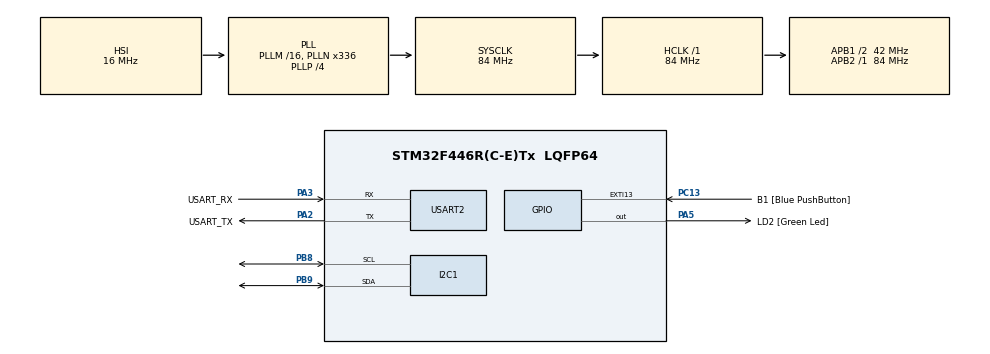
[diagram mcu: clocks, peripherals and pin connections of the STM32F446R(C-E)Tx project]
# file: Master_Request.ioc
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Dma.I2C1_TX.0.Direction=DMA_MEMORY_TO_PERIPH
Dma.I2C1_TX.0.FIFOMode=DMA_FIFOMODE_DISABLE
Dma.I2C1_TX.0.Instance=DMA1_Stream6
Dma.I2C1_TX.0.MemDataAlignment=DMA_MDATAALIGN_BYTE
Dma.I2C1_TX.0.MemInc=DMA_MINC_ENABLE
Dma.I2C1_TX.0.Mode=DMA_NORMAL
Dma.I2C1_TX.0.PeriphDataAlignment=DMA_PDATAALIGN_BYTE
Dma.I2C1_TX.0.PeriphInc=DMA_PINC_DISABLE
Dma.I2C1_TX.0.Priority=DMA_PRIORITY_LOW
Dma.Request0=I2C1_TX
Mcu.Family=STM32F4
Mcu.Name=STM32F446R(C-E)Tx
Mcu.Package=LQFP64
NVIC.DMA1_Stream6_IRQn=true\:0\:0\:false\:false\:true\:false\:true\:true
NVIC.I2C1_ER_IRQn=true\:0\:0\:false\:false\:true\:true\:true\:true
NVIC.I2C1_EV_IRQn=true\:0\:0\:false\:false\:true\:true\:true\:true
NVIC.PriorityGroup=NVIC_PRIORITYGROUP_0
PA13.GPIO_Label=TMS
PA13.Mode=Serial_Wire
PA13.Signal=SYS_JTMS-SWDIO
PA14.GPIO_Label=TCK
PA14.Mode=Serial_Wire
PA14.Signal=SYS_JTCK-SWCLK
PA2.GPIO_Label=USART_TX
PA2.Mode=Asynchronous
PA2.Signal=USART2_TX
PA3.GPIO_Label=USART_RX
PA3.Mode=Asynchronous
PA3.Signal=USART2_RX
PA5.GPIO_Label=LD2 [Green Led]
PA5.Signal=GPIO_Output
PB3.GPIO_Label=SWO
PB3.Signal=SYS_JTDO-SWO
PB8.Mode=I2C
PB8.Signal=I2C1_SCL
PB9.Mode=I2C
PB9.Signal=I2C1_SDA
PC13.GPIO_Label=B1 [Blue PushButton]
PC13.GPIO_ModeDefaultEXTI=GPIO_MODE_IT_FALLING
PC13.Signal=GPXTI13
PC14-OSC32_IN.Mode=LSE-External-Oscillator
PC14-OSC32_IN.Signal=RCC_OSC32_IN
PC15-OSC32_OUT.Mode=LSE-External-Oscillator
PC15-OSC32_OUT.Signal=RCC_OSC32_OUT
PH0-OSC_IN.Mode=HSE-External-Oscillator
PH0-OSC_IN.Signal=RCC_OSC_IN
PH1-OSC_OUT.Mode=HSE-External-Oscillator
PH1-OSC_OUT.Signal=RCC_OSC_OUT
ProjectManager.HeapSize=0x200
ProjectManager.StackSize=0x400
ProjectManager.TargetToolchain=STM32CubeIDE
RCC.48MHZClocksFreq_Value=84000000
RCC.AHBFreq_Value=84000000
RCC.APB1CLKDivider=RCC_HCLK_DIV2
RCC.APB1Freq_Value=42000000
RCC.APB1TimFreq_Value=84000000
RCC.APB2Freq_Value=84000000
RCC.APB2TimFreq_Value=84000000
RCC.CortexFreq_Value=84000000
RCC.FLatency-AdvancedSettings=FLASH_LATENCY_2
RCC.HCLKFreq_Value=84000000
RCC.HSE_VALUE=8000000
RCC.HSI_VALUE=16000000
RCC.PLLN=336
RCC.PLLP=RCC_PLLP_DIV4
RCC.SYSCLKFreq_VALUE=84000000
RCC.SYSCLKSource=RCC_SYSCLKSOURCE_PLLCLK
RCC.USBFreq_Value=168000000
RCC.VCOOutputFreq_Value=336000000
USART2.VirtualMode=VM_ASYNC
board=NUCLEO-F446RE

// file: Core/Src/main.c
/* USER CODE BEGIN Header */
/**
  ******************************************************************************
  * @file           : main.c
  * @brief          : Main program body
  ******************************************************************************
  * @attention
  *
  * Copyright (c) 2025 STMicroelectronics.
  * All rights reserved.
  *
  * This software is licensed under terms that can be found in the LICENSE file
  * in the root directory of this software component.
  * If no LICENSE file comes with this software, it is provided AS-IS.
  *
  ******************************************************************************
  */
/* USER CODE END Header */
#include "main.h"

/* USER CODE BEGIN Includes */
#include <string.h>
#include <stdio.h>
/* USER CODE END Includes */

I2C_HandleTypeDef hi2c1;
DMA_HandleTypeDef hdma_i2c1_tx;

UART_HandleTypeDef huart2;

/* USER CODE BEGIN PV */
uint8_t txData = 'A';
uint8_t rxData = '?';
uint32_t lastSendTime = 0;
GPIO_PinState lastButtonState = GPIO_PIN_SET;  // Default not pressed
/* USER CODE END PV */

void SystemClock_Config(void);
static void MX_GPIO_Init(void);
static void MX_DMA_Init(void);
static void MX_USART2_UART_Init(void);
static void MX_I2C1_Init(void);

int main(void)
{

  /* MCU Configuration--------------------------------------------------------*/

  /* Reset of all peripherals, Initializes the Flash interface and the Systick. */
  HAL_Init();

  /* Configure the system clock */
  SystemClock_Config();

  /* Initialize all configured peripherals */
  MX_GPIO_Init();
  MX_DMA_Init();
  MX_USART2_UART_Init();
  MX_I2C1_Init();
  /* USER CODE BEGIN 2 */
   const char *start = "[Master] Running...\r\n";
   HAL_UART_Transmit(&huart2, (uint8_t*)start, strlen(start), HAL_MAX_DELAY);
  /* USER CODE END 2 */

  /* Infinite loop */
  /* USER CODE BEGIN WHILE */
  while (1)
  {
	  uint32_t now = HAL_GetTick();

	      // 1. Send A every 1000ms
	      if (now - lastSendTime >= 1000) {
	          HAL_I2C_Master_Transmit(&hi2c1, (0x64 << 1), &txData, 1, HAL_MAX_DELAY);
	          const char *msg = "[Master] Sent: A\r\n";
	          HAL_UART_Transmit(&huart2, (uint8_t*)msg, strlen(msg), HAL_MAX_DELAY);
	          lastSendTime = now;
	      }

	      // 2. Check User Button (active low)
	      GPIO_PinState currentState = HAL_GPIO_ReadPin(GPIOC, GPIO_PIN_13);

	      if (lastButtonState == GPIO_PIN_SET && currentState == GPIO_PIN_RESET)
	      {
	          // Button pressed
	          HAL_I2C_Master_Receive(&hi2c1, (0x64 << 1), &rxData, 1, HAL_MAX_DELAY);

	          char msg[64];
	          snprintf(msg, sizeof(msg), "[Master] Slave replied: %c\r\n", rxData);
	          HAL_UART_Transmit(&huart2, (uint8_t*)msg, strlen(msg), HAL_MAX_DELAY);

	          HAL_Delay(300); // Debounce delay
	      }

	      lastButtonState = currentState;

    /* USER CODE END WHILE */

  }
}

void SystemClock_Config(void)
{
  RCC_OscInitTypeDef RCC_OscInitStruct = {0};
  RCC_ClkInitTypeDef RCC_ClkInitStruct = {0};

  /** Configure the main internal regulator output voltage
  */
  __HAL_RCC_PWR_CLK_ENABLE();
  __HAL_PWR_VOLTAGESCALING_CONFIG(PWR_REGULATOR_VOLTAGE_SCALE3);

  /** Initializes the RCC Oscillators according to the specified parameters
  * in the RCC_OscInitTypeDef structure.
  */
  RCC_OscInitStruct.OscillatorType = RCC_OSCILLATORTYPE_HSI;
  RCC_OscInitStruct.HSIState = RCC_HSI_ON;
  RCC_OscInitStruct.HSICalibrationValue = RCC_HSICALIBRATION_DEFAULT;
  RCC_OscInitStruct.PLL.PLLState = RCC_PLL_ON;
  RCC_OscInitStruct.PLL.PLLSource = RCC_PLLSOURCE_HSI;
  RCC_OscInitStruct.PLL.PLLM = 16;
  RCC_OscInitStruct.PLL.PLLN = 336;
  RCC_OscInitStruct.PLL.PLLP = RCC_PLLP_DIV4;
  RCC_OscInitStruct.PLL.PLLQ = 2;
  RCC_OscInitStruct.PLL.PLLR = 2;
  if (HAL_RCC_OscConfig(&RCC_OscInitStruct) != HAL_OK)
  {
    Error_Handler();
  }

  /** Initializes the CPU, AHB and APB buses clocks
  */
  RCC_ClkInitStruct.ClockType = RCC_CLOCKTYPE_HCLK|RCC_CLOCKTYPE_SYSCLK
                              |RCC_CLOCKTYPE_PCLK1|RCC_CLOCKTYPE_PCLK2;
  RCC_ClkInitStruct.SYSCLKSource = RCC_SYSCLKSOURCE_PLLCLK;
  RCC_ClkInitStruct.AHBCLKDivider = RCC_SYSCLK_DIV1;
  RCC_ClkInitStruct.APB1CLKDivider = RCC_HCLK_DIV2;
  RCC_ClkInitStruct.APB2CLKDivider = RCC_HCLK_DIV1;

  if (HAL_RCC_ClockConfig(&RCC_ClkInitStruct, FLASH_LATENCY_2) != HAL_OK)
  {
    Error_Handler();
  }
}

static void MX_I2C1_Init(void)
{

  hi2c1.Instance = I2C1;
  hi2c1.Init.ClockSpeed = 100000;
  hi2c1.Init.DutyCycle = I2C_DUTYCYCLE_2;
  hi2c1.Init.OwnAddress1 = 0;
  hi2c1.Init.AddressingMode = I2C_ADDRESSINGMODE_7BIT;
  hi2c1.Init.DualAddressMode = I2C_DUALADDRESS_DISABLE;
  hi2c1.Init.OwnAddress2 = 0;
  hi2c1.Init.GeneralCallMode = I2C_GENERALCALL_DISABLE;
  hi2c1.Init.NoStretchMode = I2C_NOSTRETCH_DISABLE;
  if (HAL_I2C_Init(&hi2c1) != HAL_OK)
  {
    Error_Handler();
  }

}

static void MX_USART2_UART_Init(void)
{

  huart2.Instance = USART2;
  huart2.Init.BaudRate = 115200;
  huart2.Init.WordLength = UART_WORDLENGTH_8B;
  huart2.Init.StopBits = UART_STOPBITS_1;
  huart2.Init.Parity = UART_PARITY_NONE;
  huart2.Init.Mode = UART_MODE_TX_RX;
  huart2.Init.HwFlowCtl = UART_HWCONTROL_NONE;
  huart2.Init.OverSampling = UART_OVERSAMPLING_16;
  if (HAL_UART_Init(&huart2) != HAL_OK)
  {
    Error_Handler();
  }

}

static void MX_DMA_Init(void)
{

  /* DMA controller clock enable */
  __HAL_RCC_DMA1_CLK_ENABLE();

  /* DMA interrupt init */
  /* DMA1_Stream6_IRQn interrupt configuration */
  HAL_NVIC_SetPriority(DMA1_Stream6_IRQn, 0, 0);
  HAL_NVIC_EnableIRQ(DMA1_Stream6_IRQn);

}

static void MX_GPIO_Init(void)
{
  GPIO_InitTypeDef GPIO_InitStruct = {0};

  /* GPIO Ports Clock Enable */
  __HAL_RCC_GPIOC_CLK_ENABLE();
  __HAL_RCC_GPIOH_CLK_ENABLE();
  __HAL_RCC_GPIOA_CLK_ENABLE();
  __HAL_RCC_GPIOB_CLK_ENABLE();

  /*Configure GPIO pin Output Level */
  HAL_GPIO_WritePin(LD2_GPIO_Port, LD2_Pin, GPIO_PIN_RESET);

  /*Configure GPIO pin : B1_Pin */
  GPIO_InitStruct.Pin = B1_Pin;
  GPIO_InitStruct.Mode = GPIO_MODE_IT_FALLING;
  GPIO_InitStruct.Pull = GPIO_NOPULL;
  HAL_GPIO_Init(B1_GPIO_Port, &GPIO_InitStruct);

  /*Configure GPIO pin : LD2_Pin */
  GPIO_InitStruct.Pin = LD2_Pin;
  GPIO_InitStruct.Mode = GPIO_MODE_OUTPUT_PP;
  GPIO_InitStruct.Pull = GPIO_NOPULL;
  GPIO_InitStruct.Speed = GPIO_SPEED_FREQ_LOW;
  HAL_GPIO_Init(LD2_GPIO_Port, &GPIO_InitStruct);

}

void Error_Handler(void)
{
  __disable_irq();
  while (1)
  {
  }
}
